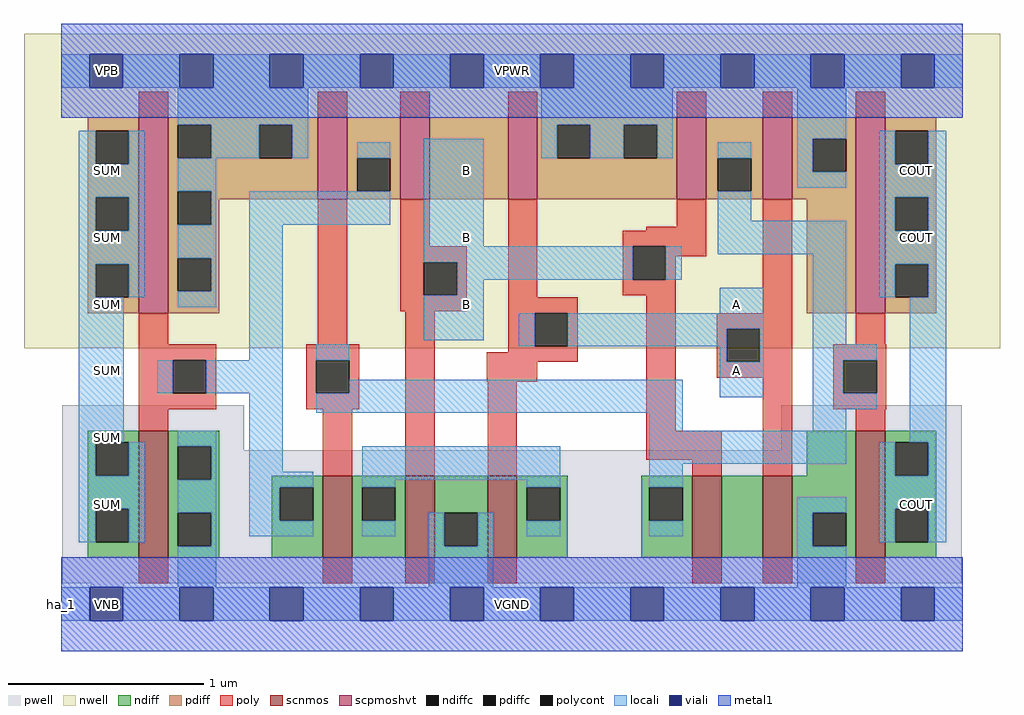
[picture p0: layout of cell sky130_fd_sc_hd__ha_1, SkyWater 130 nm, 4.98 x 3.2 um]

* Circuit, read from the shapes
.subckt sky130_fd_sc_hd__ha_1 A B VGND VNB VPB VPWR COUT SUM
XM1 VGND n1 SUM VNB sky130_fd_pr__nfet_01v8 w=0.65 l=0.15
XM2 n2 n3 n1 VNB sky130_fd_pr__nfet_01v8 w=0.42 l=0.15
XM3 VGND B n2 VNB sky130_fd_pr__nfet_01v8 w=0.42 l=0.15
XM4 n2 A VGND VNB sky130_fd_pr__nfet_01v8 w=0.42 l=0.15
XM5 n4 B n3 VNB sky130_fd_pr__nfet_01v8 w=0.42 l=0.15
XM6 VGND A n4 VNB sky130_fd_pr__nfet_01v8 w=0.42 l=0.15
XM7 COUT n3 VGND VNB sky130_fd_pr__nfet_01v8 w=0.65 l=0.15
XM8 VPWR n1 SUM VPB sky130_fd_pr__pfet_01v8_hvt w=1 l=0.15
XM9 n1 n3 VPWR VPB sky130_fd_pr__pfet_01v8_hvt w=0.42 l=0.15
XM10 n5 B n1 VPB sky130_fd_pr__pfet_01v8_hvt w=0.42 l=0.15
XM11 VPWR A n5 VPB sky130_fd_pr__pfet_01v8_hvt w=0.42 l=0.15
XM12 n3 B VPWR VPB sky130_fd_pr__pfet_01v8_hvt w=0.42 l=0.15
XM13 VPWR A n3 VPB sky130_fd_pr__pfet_01v8_hvt w=0.42 l=0.15
XM14 COUT n3 VPWR VPB sky130_fd_pr__pfet_01v8_hvt w=1 l=0.15
.ends

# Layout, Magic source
magic
tech sky130B
magscale 1 2
<< nwell >>
rect -38 261 958 582
<< pwell >>
rect 1 157 187 203
rect 735 157 919 203
rect 1 21 919 157
rect 30 -17 64 21
<< scnmos >>
rect 79 47 109 177
rect 267 47 297 131
rect 351 47 381 131
rect 435 47 465 131
rect 644 47 674 131
rect 716 47 746 131
rect 811 47 841 177
<< scpmoshvt >>
rect 79 297 109 497
rect 262 413 292 497
rect 346 413 376 497
rect 456 413 486 497
rect 628 413 658 497
rect 716 413 746 497
rect 811 297 841 497
<< ndiff >>
rect 27 165 79 177
rect 27 131 35 165
rect 69 131 79 165
rect 27 97 79 131
rect 27 63 35 97
rect 69 63 79 97
rect 27 47 79 63
rect 109 161 161 177
rect 109 127 119 161
rect 153 127 161 161
rect 761 131 811 177
rect 109 93 161 127
rect 109 59 119 93
rect 153 59 161 93
rect 109 47 161 59
rect 215 119 267 131
rect 215 85 223 119
rect 257 85 267 119
rect 215 47 267 85
rect 297 119 351 131
rect 297 85 307 119
rect 341 85 351 119
rect 297 47 351 85
rect 381 93 435 131
rect 381 59 391 93
rect 425 59 435 93
rect 381 47 435 59
rect 465 119 517 131
rect 465 85 475 119
rect 509 85 517 119
rect 465 47 517 85
rect 592 119 644 131
rect 592 85 600 119
rect 634 85 644 119
rect 592 47 644 85
rect 674 47 716 131
rect 746 93 811 131
rect 746 59 767 93
rect 801 59 811 93
rect 746 47 811 59
rect 841 165 893 177
rect 841 131 851 165
rect 885 131 893 165
rect 841 97 893 131
rect 841 63 851 97
rect 885 63 893 97
rect 841 47 893 63
<< pdiff >>
rect 27 483 79 497
rect 27 449 35 483
rect 69 449 79 483
rect 27 415 79 449
rect 27 381 35 415
rect 69 381 79 415
rect 27 347 79 381
rect 27 313 35 347
rect 69 313 79 347
rect 27 297 79 313
rect 109 489 262 497
rect 109 455 119 489
rect 153 455 202 489
rect 236 455 262 489
rect 109 421 262 455
rect 109 387 119 421
rect 153 413 262 421
rect 292 455 346 497
rect 292 421 302 455
rect 336 421 346 455
rect 292 413 346 421
rect 376 413 456 497
rect 486 489 628 497
rect 486 455 506 489
rect 540 455 574 489
rect 608 455 628 489
rect 486 413 628 455
rect 658 455 716 497
rect 658 421 670 455
rect 704 421 716 455
rect 658 413 716 421
rect 746 475 811 497
rect 746 441 767 475
rect 801 441 811 475
rect 746 413 811 441
rect 153 387 161 413
rect 109 353 161 387
rect 109 319 119 353
rect 153 319 161 353
rect 109 297 161 319
rect 761 297 811 413
rect 841 483 893 497
rect 841 449 851 483
rect 885 449 893 483
rect 841 415 893 449
rect 841 381 851 415
rect 885 381 893 415
rect 841 347 893 381
rect 841 313 851 347
rect 885 313 893 347
rect 841 297 893 313
<< ndiffc >>
rect 35 131 69 165
rect 35 63 69 97
rect 119 127 153 161
rect 119 59 153 93
rect 223 85 257 119
rect 307 85 341 119
rect 391 59 425 93
rect 475 85 509 119
rect 600 85 634 119
rect 767 59 801 93
rect 851 131 885 165
rect 851 63 885 97
<< pdiffc >>
rect 35 449 69 483
rect 35 381 69 415
rect 35 313 69 347
rect 119 455 153 489
rect 202 455 236 489
rect 119 387 153 421
rect 302 421 336 455
rect 506 455 540 489
rect 574 455 608 489
rect 670 421 704 455
rect 767 441 801 475
rect 119 319 153 353
rect 851 449 885 483
rect 851 381 885 415
rect 851 313 885 347
<< poly >>
rect 79 497 109 523
rect 262 497 292 523
rect 346 497 376 523
rect 456 497 486 523
rect 628 497 658 523
rect 716 497 746 523
rect 811 497 841 523
rect 79 265 109 297
rect 262 265 292 413
rect 346 365 376 413
rect 346 349 414 365
rect 346 315 370 349
rect 404 315 414 349
rect 346 299 414 315
rect 456 313 486 413
rect 628 385 658 413
rect 597 381 658 385
rect 573 365 658 381
rect 573 331 583 365
rect 617 355 658 365
rect 617 331 627 355
rect 573 315 627 331
rect 79 249 158 265
rect 79 215 114 249
rect 148 215 158 249
rect 79 199 158 215
rect 250 249 304 265
rect 250 215 260 249
rect 294 215 304 249
rect 250 199 304 215
rect 79 177 109 199
rect 267 131 297 199
rect 351 131 381 299
rect 456 297 527 313
rect 456 263 483 297
rect 517 263 527 297
rect 456 257 527 263
rect 434 247 527 257
rect 434 227 486 247
rect 435 131 465 227
rect 597 177 627 315
rect 716 297 746 413
rect 669 281 746 297
rect 669 247 679 281
rect 713 247 746 281
rect 811 265 841 297
rect 669 231 746 247
rect 597 147 674 177
rect 644 131 674 147
rect 716 131 746 231
rect 788 249 842 265
rect 788 215 798 249
rect 832 215 842 249
rect 788 199 842 215
rect 811 177 841 199
rect 79 21 109 47
rect 267 21 297 47
rect 351 21 381 47
rect 435 21 465 47
rect 644 21 674 47
rect 716 21 746 47
rect 811 21 841 47
<< polycont >>
rect 370 315 404 349
rect 583 331 617 365
rect 114 215 148 249
rect 260 215 294 249
rect 483 263 517 297
rect 679 247 713 281
rect 798 215 832 249
<< locali >>
rect 0 527 29 561
rect 63 527 121 561
rect 155 527 213 561
rect 247 527 305 561
rect 339 527 397 561
rect 431 527 489 561
rect 523 527 581 561
rect 615 527 673 561
rect 707 527 765 561
rect 799 527 857 561
rect 891 527 920 561
rect 119 489 252 527
rect 18 449 35 483
rect 69 449 85 483
rect 18 415 85 449
rect 18 381 35 415
rect 69 381 85 415
rect 18 347 85 381
rect 18 313 35 347
rect 69 313 85 347
rect 153 455 202 489
rect 236 455 252 489
rect 490 489 624 527
rect 302 455 336 471
rect 119 421 158 455
rect 153 387 158 421
rect 119 353 158 387
rect 153 319 158 353
rect 18 165 64 313
rect 119 303 158 319
rect 192 387 336 421
rect 192 249 226 387
rect 370 365 431 475
rect 490 455 506 489
rect 540 455 574 489
rect 608 455 624 489
rect 751 475 801 527
rect 670 455 704 471
rect 751 441 767 475
rect 751 425 801 441
rect 835 449 851 483
rect 885 449 903 483
rect 670 391 704 421
rect 835 415 903 449
rect 370 349 583 365
rect 404 331 583 349
rect 617 331 633 365
rect 670 357 801 391
rect 404 315 431 331
rect 370 269 431 315
rect 672 297 717 323
rect 98 215 114 249
rect 148 215 226 249
rect 18 131 35 165
rect 69 131 85 165
rect 18 97 85 131
rect 18 63 35 97
rect 69 63 85 97
rect 119 161 158 177
rect 153 127 158 161
rect 119 93 158 127
rect 153 59 158 93
rect 192 135 226 215
rect 260 249 294 265
rect 467 263 483 297
rect 517 281 717 297
rect 517 263 679 281
rect 672 247 679 263
rect 713 247 717 281
rect 294 215 634 229
rect 260 195 634 215
rect 672 211 717 247
rect 767 265 801 357
rect 835 381 851 415
rect 885 381 903 415
rect 835 347 903 381
rect 835 313 851 347
rect 885 313 903 347
rect 767 249 832 265
rect 767 215 798 249
rect 600 177 634 195
rect 767 199 832 215
rect 767 177 801 199
rect 192 119 257 135
rect 192 85 223 119
rect 192 69 257 85
rect 307 127 509 161
rect 307 119 341 127
rect 475 119 509 127
rect 307 69 341 85
rect 119 17 158 59
rect 375 59 391 93
rect 425 59 441 93
rect 475 69 509 85
rect 600 143 801 177
rect 866 165 903 313
rect 600 119 634 143
rect 835 131 851 165
rect 885 131 903 165
rect 600 69 634 85
rect 751 93 801 109
rect 375 17 441 59
rect 751 59 767 93
rect 835 97 903 131
rect 835 63 851 97
rect 885 63 903 97
rect 751 17 801 59
rect 0 -17 29 17
rect 63 -17 121 17
rect 155 -17 213 17
rect 247 -17 305 17
rect 339 -17 397 17
rect 431 -17 489 17
rect 523 -17 581 17
rect 615 -17 673 17
rect 707 -17 765 17
rect 799 -17 857 17
rect 891 -17 920 17
<< viali >>
rect 29 527 63 561
rect 121 527 155 561
rect 213 527 247 561
rect 305 527 339 561
rect 397 527 431 561
rect 489 527 523 561
rect 581 527 615 561
rect 673 527 707 561
rect 765 527 799 561
rect 857 527 891 561
rect 29 -17 63 17
rect 121 -17 155 17
rect 213 -17 247 17
rect 305 -17 339 17
rect 397 -17 431 17
rect 489 -17 523 17
rect 581 -17 615 17
rect 673 -17 707 17
rect 765 -17 799 17
rect 857 -17 891 17
<< metal1 >>
rect 0 561 920 592
rect 0 527 29 561
rect 63 527 121 561
rect 155 527 213 561
rect 247 527 305 561
rect 339 527 397 561
rect 431 527 489 561
rect 523 527 581 561
rect 615 527 673 561
rect 707 527 765 561
rect 799 527 857 561
rect 891 527 920 561
rect 0 496 920 527
rect 0 17 920 48
rect 0 -17 29 17
rect 63 -17 121 17
rect 155 -17 213 17
rect 247 -17 305 17
rect 339 -17 397 17
rect 431 -17 489 17
rect 523 -17 581 17
rect 615 -17 673 17
rect 707 -17 765 17
rect 799 -17 857 17
rect 891 -17 920 17
rect 0 -48 920 -17
<< labels >>
flabel pwell s 30 -17 64 17 0 FreeSans 200 0 0 0 VNB
port 4 nsew ground bidirectional
flabel nwell s 30 527 64 561 0 FreeSans 200 0 0 0 VPB
port 5 nsew power bidirectional
flabel metal1 s 30 -17 64 17 0 FreeSans 200 0 0 0 VGND
port 3 nsew ground bidirectional abutment
flabel metal1 s 30 527 64 561 0 FreeSans 200 0 0 0 VPWR
port 6 nsew power bidirectional abutment
flabel locali s 397 425 431 459 0 FreeSans 340 0 0 0 B
port 2 nsew signal input
flabel locali s 672 221 706 255 0 FreeSans 340 0 0 0 A
port 1 nsew signal input
flabel locali s 856 357 890 391 0 FreeSans 340 0 0 0 COUT
port 7 nsew signal output
flabel locali s 856 85 890 119 0 FreeSans 340 0 0 0 COUT
port 7 nsew signal output
flabel locali s 30 85 64 119 0 FreeSans 340 0 0 0 SUM
port 8 nsew signal output
flabel locali s 30 153 64 187 0 FreeSans 340 0 0 0 SUM
port 8 nsew signal output
flabel locali s 30 221 64 255 0 FreeSans 340 0 0 0 SUM
port 8 nsew signal output
flabel locali s 30 289 64 323 0 FreeSans 340 0 0 0 SUM
port 8 nsew signal output
flabel locali s 30 357 64 391 0 FreeSans 340 0 0 0 SUM
port 8 nsew signal output
flabel locali s 30 425 64 459 0 FreeSans 340 0 0 0 SUM
port 8 nsew signal output
flabel locali s 856 425 890 459 0 FreeSans 340 0 0 0 COUT
port 7 nsew signal output
flabel locali s 672 289 706 323 0 FreeSans 340 0 0 0 A
port 1 nsew signal input
flabel locali s 397 357 431 391 0 FreeSans 340 0 0 0 B
port 2 nsew signal input
flabel locali s 397 289 431 323 0 FreeSans 340 0 0 0 B
port 2 nsew signal input
rlabel comment s 0 0 0 0 4 ha_1
rlabel metal1 s 0 -48 920 48 1 VGND
port 3 nsew ground bidirectional abutment
rlabel metal1 s 0 496 920 592 1 VPWR
port 6 nsew power bidirectional abutment
<< properties >>
string FIXED_BBOX 0 0 920 544
string GDS_END 2167150
string GDS_FILE $PDKPATH/libs.ref/sky130_fd_sc_hd/gds/sky130_fd_sc_hd.gds
string GDS_START 2158270
string LEFclass CORE
string LEFsite unithd
string LEFsymmetry X Y R90
string path 12.300 1.725 12.300 3.600 8.100 3.600 8.100 1.725 
<< end >>
